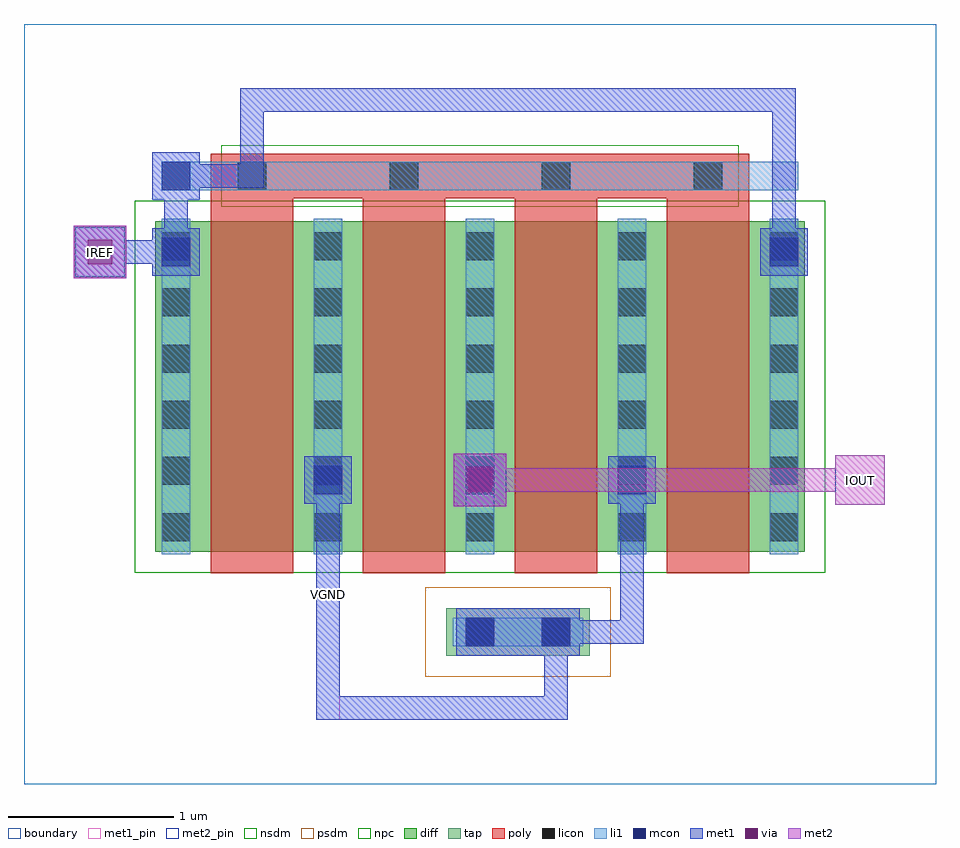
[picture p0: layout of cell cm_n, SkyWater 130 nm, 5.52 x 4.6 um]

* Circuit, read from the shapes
.subckt cm_n IOUT IREF VGND
XM1 VGND IREF IREF VGND sky130_fd_pr__nfet_01v8 w=2 l=0.5 m=2
XM2 IOUT IREF VGND VGND sky130_fd_pr__nfet_01v8 w=2 l=0.5 m=2
.ends

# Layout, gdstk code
import gdstk
lib = gdstk.Library(unit=1e-6, precision=1e-09)
def R(c, l, rs):  # rectangles x0, y0, x1, y1
    for r in rs: c.add(gdstk.rectangle(r[:2], r[2:], *l))
def A(c, l, x, y, w, h, nx, ny, dx, dy):  # array of equal rectangles
    R(c, l, [(x+i*dx, y+j*dy, x+i*dx+w, y+j*dy+h) for i in range(nx) for j in range(ny)])
diff = (65, 20)
tap = (65, 44)
poly = (66, 20)
licon = (66, 44)
li1 = (67, 20)
mcon = (67, 44)
met1_pin = (68, 16)
met1 = (68, 20)
via = (68, 44)
met2_pin = (69, 16)
met2 = (69, 20)
nsdm = (93, 44)
psdm = (94, 20)
npc = (95, 20)
boundary = (235, 4)

cm_n = lib.new_cell('cm_n')
R(cm_n, diff, [(0.795,1.405,4.725,3.405)])
R(cm_n, tap, [(2.555,0.775,3.425,1.065)])
A(cm_n, poly, 1.13, 1.275, 0.5, 2.405, 4, 1, 0.92, 0)
R(cm_n, poly, [(1.13,3.545,4.39,3.815)])
A(cm_n, licon, 0.835, 1.47, 0.17, 0.17, 5, 6, 0.92, 0.34)
A(cm_n, licon, 1.295, 3.595, 0.17, 0.17, 4, 1, 0.92, 0)
R(cm_n, licon, [(2.675,0.835,2.845,1.005), (3.135,0.835,3.305,1.005)])
A(cm_n, li1, 0.835, 1.39, 0.17, 2.03, 5, 1, 0.92, 0)
R(cm_n, li1, [(2.595,0.835,3.385,1.005), (0.835,3.595,4.685,3.765)])
A(cm_n, mcon, 1.755, 1.755, 0.17, 0.17, 3, 1, 0.92, 0)
R(cm_n, mcon, [(2.675,0.835,2.845,1.005), (3.135,0.835,3.305,1.005), (0.835,3.135,1.005,3.305), (4.515,3.135,4.685,3.305), (0.835,3.595,1.005,3.765)])
R(cm_n, met1_pin, [(1.77,0.39,1.91,1.91)])
A(cm_n, met1, 1.695, 1.695, 0.29, 0.29, 3, 1, 0.92, 0)
R(cm_n, met1, [(1.77,0.39,3.29,0.53), (1.77,0.39,1.91,1.91), (3.15,0.39,3.29,0.99), (2.615,0.775,3.365,1.065), (3.15,0.85,3.75,0.99), (3.15,0.85,3.29,0.99), (3.61,0.85,3.75,1.91), (2.6,1.68,2.92,2), (0.3,3.06,0.62,3.38), (0.775,3.075,1.065,3.365), (4.455,3.075,4.745,3.365), (0.39,3.15,0.99,3.29), (0.85,3.15,0.99,3.75), (4.53,3.15,4.67,4.21), (0.775,3.535,1.065,3.825), (0.85,3.61,1.45,3.75), (1.31,3.61,1.45,4.21), (1.31,4.07,4.67,4.21)])
R(cm_n, via, [(2.685,1.765,2.835,1.915), (0.385,3.145,0.535,3.295)])
R(cm_n, met2_pin, [(4.91,1.69,5.21,1.99), (0.31,3.07,0.61,3.37)])
R(cm_n, met2, [(2.6,1.68,2.92,2), (4.91,1.69,5.21,1.99), (2.69,1.77,5.13,1.91), (4.99,1.77,5.13,1.91), (0.3,3.06,0.62,3.38), (0.31,3.07,0.61,3.37), (0.39,3.15,0.53,3.29)])
R(cm_n, nsdm, [(0.67,1.28,4.85,3.53)])
R(cm_n, psdm, [(2.43,0.65,3.55,1.19)])
R(cm_n, npc, [(1.195,3.495,4.325,3.865)])
R(cm_n, boundary, [(0,0,5.52,4.6)])
cm_n.add(gdstk.Label('VGND', (1.84,1.15), layer=68, texttype=5))
cm_n.add(gdstk.Label('IREF', (0.46,3.22), layer=69, texttype=5))
cm_n.add(gdstk.Label('IOUT', (5.06,1.84), layer=69, texttype=5))
cm_n.add(gdstk.Label('VGND', (1.84,1.15), layer=68, texttype=16))
cm_n.add(gdstk.Label('IREF', (0.46,3.22), layer=69, texttype=16))
cm_n.add(gdstk.Label('IOUT', (5.06,1.84), layer=69, texttype=16))

lib.write_gds('cm_n.gds')
